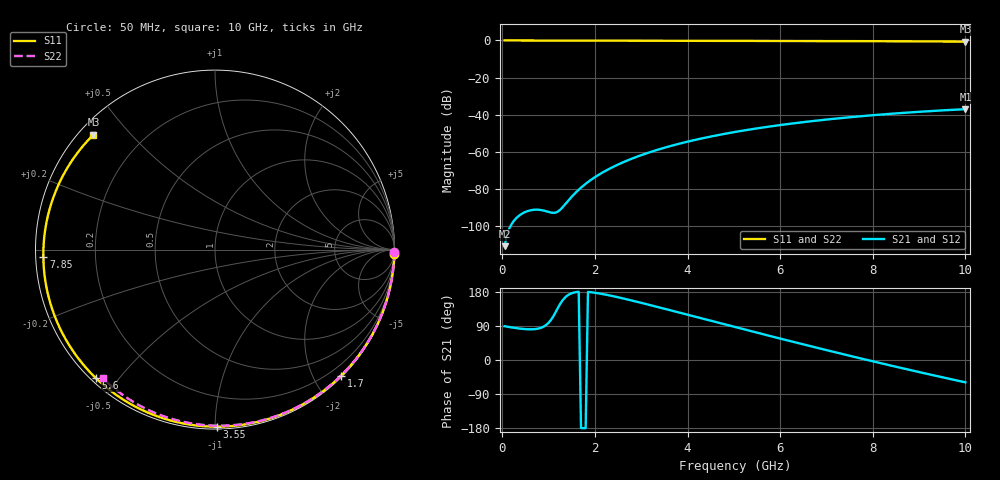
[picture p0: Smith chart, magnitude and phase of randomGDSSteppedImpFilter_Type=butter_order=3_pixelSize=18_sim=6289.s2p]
! freq	dB(S11)	phase(S11)	dB(S12)	phase(S12)
!  dB(S21)	phase(S21)	dB(S22)	phase(S22)
!S-par simulation data
#  GHz  S  DB  R 50
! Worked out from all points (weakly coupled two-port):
!   200 points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, 50 MHz to 10 GHz, reference 50 ohm
!   highest |S21| = -36.94 dB at 10 GHz (marker M1); lowest = -110.6 dB at 50 MHz (marker M2)
!   lowest |S11| = -0.6 dB at 10 GHz (marker M3), VSWR 28.44, Z = 2.04 + j19.9 ohm
!   |S11| at or under -10 dB: nowhere
!   |S22| runs from -0.4 to 0.0 dB; largest |S21 - S12| = 0
!   S11 on the Smith chart (normalised r, x): 50 MHz: 0, -84; 1.7 GHz: 0.02, -2.42; 3.55 GHz: 0.01, -1.01; 5.6 GHz: 0.01, -0.44; 7.85 GHz: 0.02, -0.02; 10 GHz: 0.04, +0.40
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0.05  -0.00 -1.4  -110.63 89.2  -110.63 89.2  -0.00 -0.8
0.45  -0.02 -12.1  -92.80 82.0  -92.80 82.0  -0.01 -6.8
0.85  -0.03 -22.8  -91.26 85.7  -91.26 85.7  -0.02 -12.8
1.25  -0.04 -33.3  -91.05 148.2  -91.05 148.2  -0.02 -18.8
1.65  -0.05 -43.6  -80.27 180.0  -80.27 180.0  -0.03 -24.7
1.7  -0.06 -44.9  -79.15 -179.7  -79.15 -179.7  -0.03 -25.4
1.75  -0.06 -46.2  -78.10 -179.7  -78.10 -179.7  -0.03 -26.2
2.05  -0.07 -53.7  -72.73 176.5  -72.73 176.5  -0.04 -30.6
2.45  -0.08 -63.6  -67.31 166.9  -67.31 166.9  -0.05 -36.4
2.9  -0.09 -74.4  -62.59 153.9  -62.59 153.9  -0.06 -42.8
3.4  -0.11 -86.0  -58.43 138.4  -58.43 138.4  -0.07 -49.8
3.55  -0.12 -89.4  -57.34 133.7  -57.34 133.7  -0.07 -51.9
4.25  -0.14 -104.8  -53.00 111.5  -53.00 111.5  -0.09 -61.5
5.05  -0.18 -121.6  -49.10 86.1  -49.10 86.1  -0.11 -72.1
5.6  -0.21 -132.8  -46.91 68.9  -46.91 68.9  -0.13 -79.2
6.15  -0.24 -143.8  -45.00 51.9  -45.00 51.9  -0.15 -86.2
6.7  -0.28 -154.7  -43.34 35.1  -43.34 35.1  -0.18 -92.9
7.3  -0.33 -166.6  -41.77 17.1  -41.77 17.1  -0.21 -100.2
7.85  -0.38 -177.6  -40.51 0.9  -40.51 0.9  -0.25 -106.7
8.35  -0.43 172.2  -39.51 -13.5  -39.51 -13.5  -0.29 -112.5
9.2  -0.52 154.4  -38.05 -37.4  -38.05 -37.4  -0.36 -122.2
10  -0.61 136.6  -36.94 -58.9  -36.94 -58.9  -0.44 -131.3
